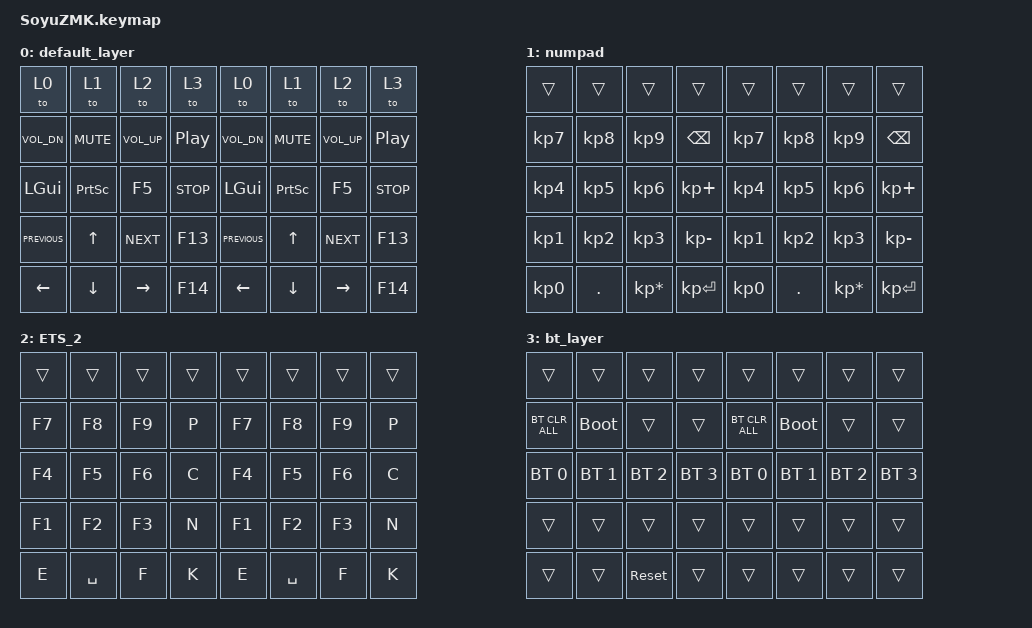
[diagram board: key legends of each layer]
#include <behaviors.dtsi>
#include <dt-bindings/zmk/bt.h>
#include <dt-bindings/zmk/keys.h>

/ {
    keymap {
        compatible = "zmk,keymap";

        default_layer {
            bindings = <
						&to 0  			&to 1			 	 &to 2  		  	  &to 3	   &to 0  			&to 1			 	 &to 2  		  	  &to 3
						&kp C_VOL_DN  	&kp C_MUTE  	 &kp C_VOLUME_UP  &kp C_PLAY_PAUSE &kp C_VOL_DN  	&kp C_MUTE  	 &kp C_VOLUME_UP  &kp C_PLAY_PAUSE
						&kp LEFT_GUI 	&kp PRINTSCREEN  &kp F5  		  &kp C_STOP	   &kp LEFT_GUI 	&kp PRINTSCREEN  &kp F5  		  &kp C_STOP
						&kp C_PREVIOUS  &kp UP  		 &kp C_NEXT  	  &kp F13		   &kp C_PREVIOUS  &kp UP  		 &kp C_NEXT  	  &kp F13
						&kp LEFT  		&kp DOWN  		 &kp RIGHT 		  &kp F14		   &kp LEFT  		&kp DOWN  		 &kp RIGHT 		  &kp F14
            >;
        };

        numpad {
            bindings = <
						&trans  		 &trans  		  &trans  		   &trans		 &trans  		  &trans  		   &trans  		    &trans
						&kp KP_NUMBER_7  &kp KP_NUMBER_8  &kp KP_NUMBER_9  &kp BACKSPACE &kp KP_NUMBER_7  &kp KP_NUMBER_8  &kp KP_NUMBER_9  &kp BACKSPACE
						&kp KP_NUMBER_4  &kp KP_NUMBER_5  &kp KP_NUMBER_6  &kp KP_PLUS	 &kp KP_NUMBER_4  &kp KP_NUMBER_5  &kp KP_NUMBER_6  &kp KP_PLUS
						&kp KP_NUMBER_1  &kp KP_NUMBER_2  &kp KP_NUMBER_3  &kp KP_MINUS	 &kp KP_NUMBER_1  &kp KP_NUMBER_2  &kp KP_NUMBER_3  &kp KP_MINUS
						&kp KP_NUMBER_0  &kp PERIOD  	  &kp KP_MULTIPLY  &kp KP_ENTER  &kp KP_NUMBER_0  &kp PERIOD  	  &kp KP_MULTIPLY  &kp KP_ENTER
            >;
        };

        ETS_2 {
            bindings = <
						&trans  &trans  &trans  &trans &trans  &trans  &trans  &trans 
						&kp F7  &kp F8  &kp F9  &kp P  &kp F7  &kp F8  &kp F9  &kp P
						&kp F4  &kp F5  &kp F6  &kp C  &kp F4  &kp F5  &kp F6  &kp C
						&kp F1  &kp F2  &kp F3  &kp N  &kp F1  &kp F2  &kp F3  &kp N  
						&kp E  &kp SPACE  &kp F  &kp K &kp E  &kp SPACE  &kp F  &kp K
            >;
        };

        bt_layer {
            bindings = <
						&trans  		&trans  	  &trans  	    &trans		 &trans  		&trans  	  &trans  	    &trans
						&bt BT_CLR_ALL  &bootloader   &trans  		&trans		 &bt BT_CLR_ALL  &bootloader   &trans  		&trans
						&bt BT_SEL 0    &bt BT_SEL 1  &bt BT_SEL 2  &bt BT_SEL 3 &bt BT_SEL 0    &bt BT_SEL 1  &bt BT_SEL 2  &bt BT_SEL 3
						&trans  		&trans   	  &trans  	    &trans  	 &trans  		&trans   	  &trans  	    &trans 
						&trans  		&trans  	  &sys_reset    &trans		 &trans  		&trans   	  &trans  	    &trans 
            >;
        };
    };
};
